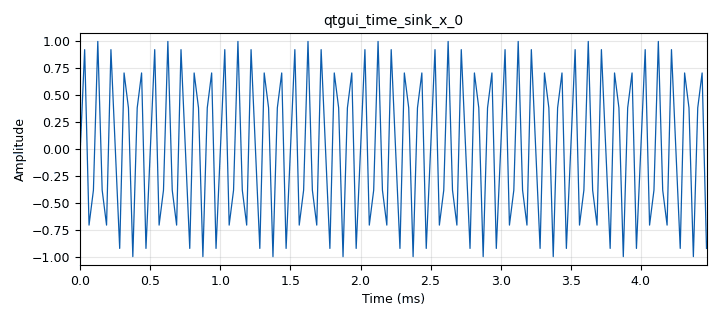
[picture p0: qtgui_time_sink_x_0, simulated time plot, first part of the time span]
options:
  parameters:
    author: com2_B1_G8
    generate_options: qt_gui
    id: untitled
    output_language: python
    title: Not titled yet
  states: {}

blocks:
- name: samp_rate
  id: variable
  parameters:
    value: '32000'
  states: {}
- name: analog_sig_source_x_0
  id: analog_sig_source_x
  parameters:
    amp: '1'
    freq: '10000'
    offset: '0'
    phase: '0'
    samp_rate: samp_rate
    type: float
    waveform: analog.GR_SIN_WAVE
  states: {}
- name: blocks_throttle2_0
  id: blocks_throttle2
  parameters:
    samples_per_second: samp_rate
    type: float
  states: {}
- name: blocks_vector_source_x_0
  id: blocks_vector_source_x
  parameters:
    repeat: 'True'
    type: float
    vector: (1, 2, -1)
  states: {state: disabled}
- name: epy_block_0
  id: epy_block
  parameters:
    _source_code: "\nimport numpy as np\nfrom gnuradio import gr\n\nclass blk(gr.sync_block):\n    def __init__(self): \n        gr.sync_block.__init__(\n            self,\n            name='Promedios_de_tiempo',\n            in_sig=[np.float32],\n            out_sig=[np.float32,np.float32,np.float32,np.float32,np.float32]\n        )\n        self.acum_anterior = 0\n        self.Ntotales = 0\n        self.acum_anterior1 = 0\n        self.acum_anterior2 = 0\n\n    def work(self, input_items, output_items):\n        x=input_items[0]    #señal de entrada\n        y0=output_items[0]  #promedio de la señal de entrada\n        y1=output_items[1]  #media de la señal\n        y2=output_items[2]  #RMS de la señal\n        y3=output_items[3]  #potencia promedio de la señal\n        y4=output_items[4]  #desviación estandar de la señal\n        \n        #promedio\n        N = len(x)\n        self.Ntotales = self.Ntotales + N\n        acumulado = self.acum_anterior + np.cumsum(x)\n        self.acum_anterior = acumulado[N-1] \n        y0[:] = acumulado/self.Ntotales\n        \n        #media cuadratica\n        x2=np.multiply(x,x)\n        acumulado1 = self.acum_anterior1 + np.cumsum(x2)\n        self.acum_anterior1 = acumulado[N-1]\n        y1[:] = acumulado1/self.Ntotales\n        \n        #RMS\n        y2[:]=np.sqrt(y1)\n        \n        #potencia promedio\n        y3[:]=np.multiply(y2,y2)\n        \n        #desviación estandar\n        x3 = np.multiply(x-y0,x-y0)\n        acumulado2 = self.acum_anterior2 + np.cumsum(x3)\n        self.acum_anterior2 = acumulado2[N-1]\n        y4[:] = np.sqrt(acumulado2/self.Ntotales)\n        \n        return len(x)\n"
  states: {}
- name: qtgui_number_sink_0
  id: qtgui_number_sink
  parameters:
    graph_type: qtgui.NUM_GRAPH_HORIZ
    name: '"media"'
    type: float
  states: {}
- name: qtgui_number_sink_0_0
  id: qtgui_number_sink
  parameters:
    graph_type: qtgui.NUM_GRAPH_HORIZ
    name: '"cuadratica"'
    type: float
  states: {}
- name: qtgui_number_sink_0_0_0
  id: qtgui_number_sink
  parameters:
    autoscale: 'True'
    graph_type: qtgui.NUM_GRAPH_HORIZ
    name: '"RMS"'
    type: float
  states: {}
- name: qtgui_number_sink_0_0_0_0
  id: qtgui_number_sink
  parameters:
    graph_type: qtgui.NUM_GRAPH_HORIZ
    name: '"Potencia media"'
    type: float
  states: {}
- name: qtgui_number_sink_0_0_0_0_0
  id: qtgui_number_sink
  parameters:
    graph_type: qtgui.NUM_GRAPH_HORIZ
    name: '"desviación estandar"'
    type: float
  states: {}
- name: qtgui_time_sink_x_0
  id: qtgui_time_sink_x
  parameters:
    size: 1024*3
    srate: samp_rate
    type: float
  states: {}

connections:
- [analog_sig_source_x_0, '0', blocks_throttle2_0, '0']
- [blocks_throttle2_0, '0', epy_block_0, '0']
- [blocks_throttle2_0, '0', qtgui_time_sink_x_0, '0']
- [blocks_vector_source_x_0, '0', blocks_throttle2_0, '0']
- [blocks_vector_source_x_0, '0', qtgui_time_sink_x_0, '0']
- [epy_block_0, '0', qtgui_number_sink_0, '0']
- [epy_block_0, '1', qtgui_number_sink_0_0, '0']
- [epy_block_0, '2', qtgui_number_sink_0_0_0, '0']
- [epy_block_0, '3', qtgui_number_sink_0_0_0_0, '0']
- [epy_block_0, '4', qtgui_number_sink_0_0_0_0_0, '0']

metadata:
  file_format: 1
  grc_version: v3.10.11.0-89-ga17f69e7
